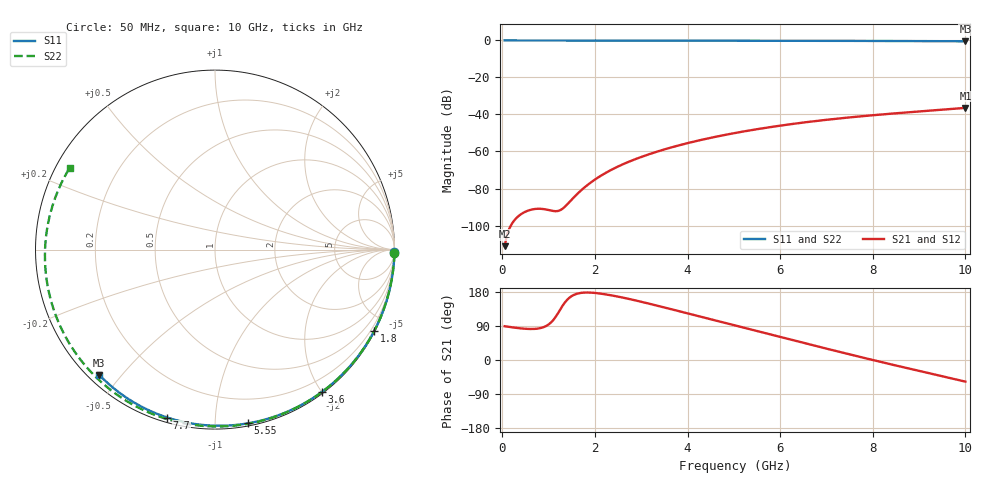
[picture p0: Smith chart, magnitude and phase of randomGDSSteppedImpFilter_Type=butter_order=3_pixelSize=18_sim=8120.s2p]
! freq	dB(S11)	phase(S11)	dB(S12)	phase(S12)
!  dB(S21)	phase(S21)	dB(S22)	phase(S22)
!S-par simulation data
#  GHz  S  DB  R 50
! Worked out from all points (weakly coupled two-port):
!   200 points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, 50 MHz to 10 GHz, reference 50 ohm
!   highest |S21| = -36.43 dB at 10 GHz (marker M1); lowest = -111.2 dB at 50 MHz (marker M2)
!   lowest |S11| = -0.4 dB at 10 GHz (marker M3), VSWR 39.25, Z = 1.52 - j21.9 ohm
!   |S11| at or under -10 dB: nowhere
!   |S22| runs from -0.6 to 0.0 dB; largest |S21 - S12| = 0
!   S11 on the Smith chart (normalised r, x): 50 MHz: open; 1.8 GHz: 0.04, -4.14; 3.6 GHz: 0.02, -2.00; 5.55 GHz: 0.02, -1.21; 7.7 GHz: 0.02, -0.75; 10 GHz: 0.03, -0.44
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0.05  -0.00 -0.8  -111.16 89.2  -111.16 89.2  -0.00 -1.2
0.45  -0.01 -6.9  -93.17 82.8  -93.17 82.8  -0.01 -10.3
0.85  -0.02 -12.9  -91.01 85.1  -91.01 85.1  -0.02 -19.3
1.3  -0.02 -19.7  -90.95 142.8  -90.95 142.8  -0.04 -29.4
1.75  -0.03 -26.4  -79.94 177.7  -79.94 177.7  -0.05 -39.3
1.8  -0.03 -27.1  -78.90 178.0  -78.90 178.0  -0.05 -40.4
2.1  -0.04 -31.6  -73.54 175.5  -73.54 175.5  -0.06 -47.0
2.45  -0.05 -36.7  -68.70 168.4  -68.70 168.4  -0.07 -54.5
2.9  -0.06 -43.2  -63.88 156.6  -63.88 156.6  -0.08 -64.0
3.4  -0.07 -50.3  -59.63 141.7  -59.63 141.7  -0.10 -74.4
3.6  -0.07 -53.1  -58.15 135.5  -58.15 135.5  -0.11 -78.5
4.3  -0.09 -62.7  -53.71 113.8  -53.71 113.8  -0.13 -92.5
5.05  -0.11 -72.7  -49.90 90.5  -49.90 90.5  -0.17 -107.2
5.55  -0.13 -79.3  -47.75 74.9  -47.75 74.9  -0.19 -116.9
6.1  -0.15 -86.3  -45.69 57.8  -45.69 57.8  -0.23 -127.5
6.7  -0.18 -93.8  -43.74 39.2  -43.74 39.2  -0.27 -139.0
7.7  -0.24 -105.9  -41.09 8.9  -41.09 8.9  -0.36 -158.6
8.35  -0.29 -113.6  -39.66 -10.2  -39.66 -10.2  -0.43 -171.9
8.8  -0.33 -118.8  -38.75 -23.1  -38.75 -23.1  -0.48 178.5
9.2  -0.36 -123.5  -37.98 -34.4  -37.98 -34.4  -0.53 169.7
9.6  -0.40 -128.1  -37.21 -45.7  -37.21 -45.7  -0.58 160.4
10  -0.44 -132.7  -36.43 -57.1  -36.43 -57.1  -0.64 150.6
